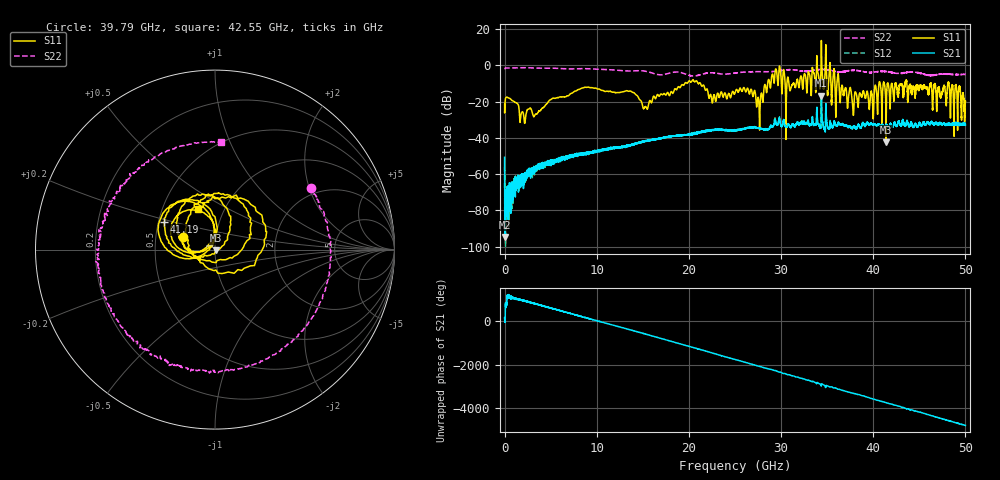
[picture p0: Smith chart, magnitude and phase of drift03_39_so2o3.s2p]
!Created with skrf (http://scikit-rf.org).
# Hz S RI R 50.0
!freq ReS11 ImS11 ReS21 ImS21 ReS12 ImS12 ReS22 ImS22
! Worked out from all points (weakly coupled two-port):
!   10001 points, 300 kHz to 50 GHz, reference 50 ohm
!   highest |S21| = -16.84 dB at 34.37 GHz (marker M1); lowest = -94.6 dB at 50.3 MHz (marker M2)
!   lowest |S11| = -42.6 dB at 41.4 GHz (marker M3), VSWR 1.01, Z = 50.6 - j0.372 ohm
!   |S11| at or under -10 dB: start of sweep to 19.55 GHz; 21.25 GHz to 28.55 GHz (7.296 GHz wide, 29.3 % of centre); 36.28 GHz to 40.62 GHz (4.338 GHz wide, 11.3 % of centre) (the widest 3 of 38)
!   |S22| runs from -5.9 to -1.3 dB; largest |S21 - S12| = 0.024
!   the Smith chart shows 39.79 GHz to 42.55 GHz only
!   S11 on the Smith chart (normalised r, x): 39.79 GHz: 0.69, +0.10; 41.19 GHz: 0.54, +0.18; 42.55 GHz: 0.75, +0.36
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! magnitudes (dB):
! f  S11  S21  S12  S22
! 300 kHz  -21.6  -50.7  -55.7  -2.1
! 50.3 MHz  -20.4  -94.6  -84.9  -1.6
! 255.3 MHz  -17.6  -74.4  -81.8  -1.4
! 3.3 GHz  -27.3  -58.3  -59.0  -1.5
! 8.335 GHz  -12.6  -49.7  -48.6  -1.9
! 13.76 GHz  -14.5  -44.2  -44.1  -3.1
! 15.28 GHz  -22.8  -42.0  -41.6  -3.3
! 16.67 GHz  -16.5  -40.6  -40.4  -5.2
! 20.26 GHz  -9.1  -37.9  -37.7  -5.8
! 22.71 GHz  -16.5  -35.8  -35.8  -4.2
! 25 GHz  -15.3  -35.9  -35.8  -4.3
! 27.52 GHz  -17.8  -34.4  -34.6  -3.5
! 29.28 GHz  -8.6  -31.1  -30.5  -3.3
! 30.73 GHz  -6.5  -32.7  -32.5  -2.5
! 33.34 GHz  -7.4  -31.4  -31.4  -2.9
! 34.37 GHz  13.7  -16.8  -17.7  -2.3
! 39.79 GHz  -14.3  -31.9  -32.0  -3.9
! 41.19 GHz  -9.8  -33.8  -33.6  -3.4
! 41.4 GHz  -42.6  -32.6  -32.8  -3.4
! 41.67 GHz  -11.5  -34.5  -34.1  -3.6
! 42.55 GHz  -12.2  -33.5  -33.6  -4.4
! 50 GHz  -20.1  -33.0  -32.8  -5.0
